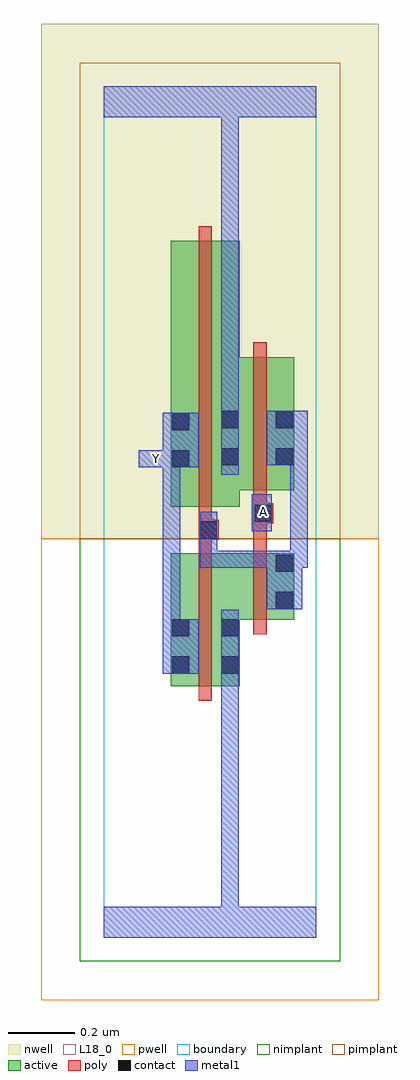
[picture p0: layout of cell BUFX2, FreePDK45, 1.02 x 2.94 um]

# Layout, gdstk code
import gdstk
lib = gdstk.Library(unit=1e-6, precision=1e-09)
def R(c, l, rs):  # rectangles x0, y0, x1, y1
    for r in rs: c.add(gdstk.rectangle(r[:2], r[2:], *l))
active = (1, 0)
pwell = (2, 0)
nwell = (3, 0)
nimplant = (4, 0)
pimplant = (5, 0)
poly = (9, 0)
contact = (10, 0)
metal1 = (11, 0)
L18_0 = (18, 0)
boundary = (235, 0)

bufx2 = lib.new_cell('BUFX2')
R(bufx2, active, [(0.202,0.756,0.41,1.156), (0.202,0.756,0.262,1.156), (0.35,0.756,0.41,0.962), (0.35,0.956,0.574,1.156), (0.514,0.956,0.574,1.156), (0.202,1.296,0.41,2.096), (0.202,1.296,0.262,2.044), (0.35,1.346,0.41,1.644), (0.35,1.346,0.574,1.746), (0.514,1.346,0.574,1.644)])
R(bufx2, pwell, [(-0.188,-0.188,0.828,1.2)])
R(bufx2, nwell, [(-0.188,1.2,0.828,2.748)])
R(bufx2, nimplant, [(-0.072,-0.072,0.712,1.2)])
R(bufx2, pimplant, [(-0.072,1.2,0.712,2.632)])
R(bufx2, poly, [(0.286,0.712,0.326,1.2), (0.45,0.912,0.49,1.2), (0.286,1.16,0.326,1.236), (0.45,1.16,0.49,1.286), (0.286,1.196,0.346,1.256), (0.286,1.216,0.326,1.292), (0.286,1.216,0.326,1.256), (0.286,1.216,0.326,1.256), (0.45,1.246,0.49,1.286), (0.45,1.246,0.49,1.286), (0.45,1.246,0.51,1.306), (0.286,1.252,0.326,2.14), (0.45,1.266,0.49,1.342), (0.45,1.302,0.49,1.79)])
R(bufx2, contact, [(0.206,0.794,0.258,0.846), (0.354,0.794,0.406,0.846), (0.206,0.906,0.258,0.958), (0.354,0.906,0.406,0.958), (0.518,0.988,0.57,1.04), (0.518,1.1,0.57,1.152), (0.29,1.2,0.342,1.252), (0.454,1.25,0.506,1.302), (0.206,1.414,0.258,1.466), (0.354,1.42,0.406,1.472), (0.518,1.42,0.57,1.472), (0.206,1.526,0.258,1.578), (0.354,1.532,0.406,1.584), (0.518,1.532,0.57,1.584)])
R(bufx2, metal1, [(0,0,0.64,0.092), (0.354,0.04,0.406,0.092), (0.354,0.04,0.406,0.092), (0.354,0.04,0.406,0.092), (0.354,0.04,0.406,0.092), (0.354,0.04,0.406,0.092), (0.354,0.04,0.406,0.092), (0.354,0.04,0.406,0.092), (0.354,0.04,0.406,0.092), (0.354,0.04,0.406,0.092), (0.354,0.04,0.406,0.092), (0.354,0.04,0.406,0.092), (0.354,0.04,0.406,0.092), (0.354,0.04,0.406,0.818), (0.354,0.766,0.406,0.986), (0.178,0.794,0.286,0.958), (0.178,0.906,0.23,1.466), (0.49,0.988,0.598,1.152), (0.546,1.1,0.598,1.164), (0.29,1.112,0.598,1.164), (0.29,1.112,0.342,1.224), (0.546,1.112,0.598,1.164), (0.546,1.112,0.598,1.164), (0.546,1.112,0.614,1.164), (0.562,1.112,0.614,1.472), (0.562,1.112,0.614,1.164), (0.562,1.112,0.614,1.164), (0.29,1.172,0.342,1.224), (0.29,1.172,0.342,1.28), (0.446,1.222,0.506,1.334), (0.354,1.392,0.406,1.612), (0.106,1.414,0.23,1.466), (0.178,1.414,0.23,1.466), (0.178,1.414,0.23,1.466), (0.178,1.414,0.23,1.466), (0.178,1.414,0.286,1.578), (0.49,1.42,0.614,1.584), (0.354,1.56,0.406,1.612), (0.354,1.56,0.406,1.612), (0.354,1.56,0.406,2.52), (0,2.468,0.64,2.56), (0.354,2.468,0.406,2.52), (0.354,2.468,0.406,2.52), (0.354,2.468,0.406,2.52), (0.354,2.468,0.406,2.52), (0.354,2.468,0.406,2.52), (0.354,2.468,0.406,2.52)])
R(bufx2, L18_0, [(0,0,0.64,0.092), (0.354,0.04,0.406,0.092), (0.354,0.04,0.406,0.092), (0.354,0.04,0.406,0.092), (0.354,0.04,0.406,0.092), (0.354,0.04,0.406,0.092), (0.354,0.04,0.406,0.092), (0.354,0.04,0.406,0.092), (0.354,0.04,0.406,0.092), (0.354,0.04,0.406,0.092), (0.354,0.04,0.406,0.092), (0.354,0.04,0.406,0.092), (0.354,0.04,0.406,0.092), (0.354,0.04,0.406,0.818), (0.354,0.766,0.406,0.986), (0.178,0.794,0.286,0.958), (0.178,0.906,0.23,1.466), (0.446,1.222,0.506,1.334), (0.454,1.254,0.506,1.306), (0.354,1.392,0.406,1.612), (0.106,1.414,0.23,1.466), (0.134,1.414,0.186,1.466), (0.178,1.414,0.286,1.578), (0.178,1.414,0.23,1.466), (0.178,1.414,0.23,1.466), (0.178,1.414,0.23,1.466), (0.354,1.56,0.406,1.612), (0.354,1.56,0.406,1.612), (0.354,1.56,0.406,2.52), (0,2.468,0.64,2.56), (0.354,2.468,0.406,2.52), (0.354,2.468,0.406,2.52), (0.354,2.468,0.406,2.52), (0.354,2.468,0.406,2.52), (0.354,2.468,0.406,2.52), (0.354,2.468,0.406,2.52)])
R(bufx2, boundary, [(0,0,0.64,2.56)])
bufx2.add(gdstk.Label('A', (0.48,1.28), layer=11, texttype=0))
bufx2.add(gdstk.Label('Y', (0.16,1.44), layer=11, texttype=0))

lib.write_gds('BUFX2.gds')
